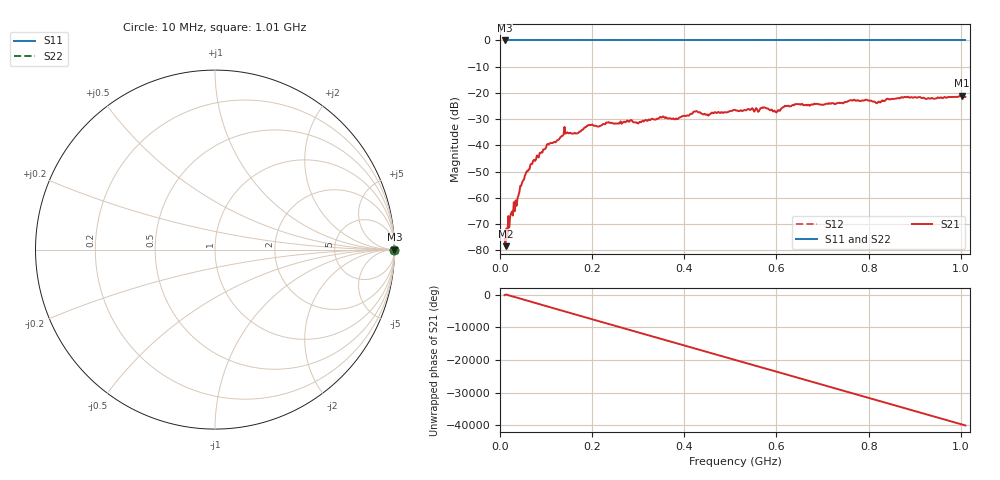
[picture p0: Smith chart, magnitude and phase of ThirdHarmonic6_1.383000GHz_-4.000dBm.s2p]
! 8/16/2025 3:43:17 PM
! C:\ANRITSUVNA\TEMP\TEMP.S2P
! CHANNEL.1
! TR.MEASUREMENT
! RAW.DATA
! RF.CORRECTION.OFF
! AVERAGING.OFF
! IF.BANDWIDTH: 5KHZ
! SWEEPTYPE:  FREQ.SWEEP(Linear)
! Reference Plane Port Info
! PORT:  PORT1  PORT2
! DISTANCE:  0  m  0  m
! TIME:  0  s  0  s
! PHASE.OFFSET:  0  deg.  0  deg.
! LOSS:  0  dB  0  dB
! REF.LOSS:  0  dB  0  dB
! REF.FREQ:  0  Hz  0  Hz
! Power Info
! POWER:  -20  dBm  -20  dBm
! EFF.POWER:  -20  dBm  -20  dBm
! SOURCE.ATTEN:  0  dB  0  dB
! TEST.ATTEN:  0  dB  0  dB
# GHZ S RI R 50.0
! FREQ.GHZ  S11RE  S11IM  S21RE  S21IM  S12RE  S12IM  S22RE  S22IM
!; PortSelection: Port_12
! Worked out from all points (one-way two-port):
!   501 points, 10 MHz to 1.01 GHz, reference 50 ohm
!   highest |S21| = -21.02 dB at 1.002 GHz (marker M1); lowest = -78.4 dB at 12 MHz (marker M2)
!   lowest |S11| = 0.0 dB at 10 MHz (marker M3)
!   |S11| at or under -10 dB: nowhere
!   |S22| runs from 0.0 to 0.0 dB; largest |S21 - S12| = 1.1
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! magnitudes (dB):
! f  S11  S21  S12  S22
! 10 MHz  0.0  -75.6  0.0  0.0
! 12 MHz  0.0  -78.4  0.0  0.0
! 22 MHz  0.0  -67.1  0.0  0.0
! 36 MHz  0.0  -63.0  0.0  0.0
! 46 MHz  0.0  -55.4  0.0  0.0
! 70 MHz  0.0  -47.0  0.0  0.0
! 106 MHz  0.0  -39.6  0.0  0.0
! 142 MHz  0.0  -35.5  0.0  0.0
! 178 MHz  0.0  -34.1  0.0  0.0
! 196 MHz  0.0  -32.3  0.0  0.0
! 344 MHz  0.0  -29.8  0.0  0.0
! 382 MHz  0.0  -29.8  0.0  0.0
! 424 MHz  0.0  -27.1  0.0  0.0
! 450 MHz  0.0  -28.2  0.0  0.0
! 510 MHz  0.0  -26.5  0.0  0.0
! 572 MHz  0.0  -25.7  0.0  0.0
! 598 MHz  0.0  -27.2  0.0  0.0
! 622 MHz  0.0  -25.1  0.0  0.0
! 678 MHz  0.0  -24.5  0.0  0.0
! 844 MHz  0.0  -22.4  0.0  0.0
! 1.002 GHz  0.0  -21.0  0.0  0.0
! 1.01 GHz  0.0  -21.5  0.0  0.0
